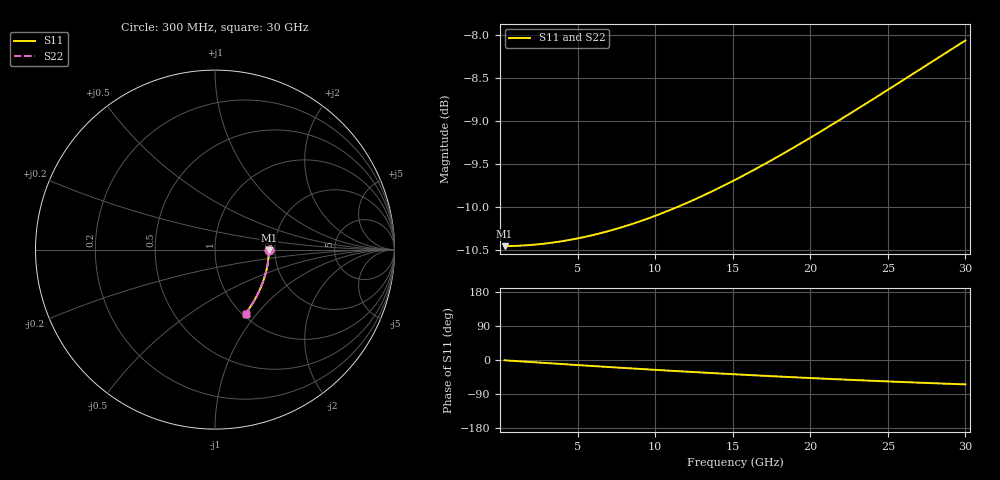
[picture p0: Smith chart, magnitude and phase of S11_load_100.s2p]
! Created Tue Apr 13 08:55:51 2021
# hz S ri R 50
! 2 Port Network Data from SP1.SP block
! freq  reS11  imS11  reS21  imS21  reS12  imS12  reS22  imS22
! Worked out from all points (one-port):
!   100 points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, 300 MHz to 30 GHz, reference 50 ohm
!   lowest |S11| = -10.5 dB at 300 MHz (marker M1), VSWR 1.86, Z = 92.8 - j0.861 ohm
!   |S11| at or under -10 dB: start of sweep to 11.5 GHz
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3e8  0.2999 -0.00422  0 0  0 0  0.2999 -0.00422
1.5e9  0.2994 -0.0211  0 0  0 0  0.2994 -0.0211
2.7e9  0.2984 -0.0379  0 0  0 0  0.2984 -0.0379
3.9e9  0.2968 -0.0546  0 0  0 0  0.2968 -0.0546
5.4e9  0.2941 -0.0753  0 0  0 0  0.2941 -0.0753
6.6e9  0.2913 -0.0916  0 0  0 0  0.2913 -0.0916
7.8e9  0.288 -0.1077  0 0  0 0  0.288 -0.1077
9e9  0.2843 -0.1236  0 0  0 0  0.2843 -0.1236
1.02e10  0.2801 -0.1391  0 0  0 0  0.2801 -0.1391
1.14e10  0.2756 -0.1545  0 0  0 0  0.2756 -0.1545
1.26e10  0.2707 -0.1695  0 0  0 0  0.2707 -0.1695
1.38e10  0.2655 -0.1843  0 0  0 0  0.2655 -0.1843
1.53e10  0.2585 -0.2023  0 0  0 0  0.2585 -0.2023
1.65e10  0.2526 -0.2164  0 0  0 0  0.2526 -0.2164
1.77e10  0.2464 -0.2302  0 0  0 0  0.2464 -0.2302
1.89e10  0.24 -0.2438  0 0  0 0  0.24 -0.2438
2.01e10  0.2333 -0.2571  0 0  0 0  0.2333 -0.2571
2.25e10  0.2193 -0.2828  0 0  0 0  0.2193 -0.2828
2.37e10  0.212 -0.2952  0 0  0 0  0.212 -0.2952
2.52e10  0.2026 -0.3104  0 0  0 0  0.2026 -0.3104
2.76e10  0.187 -0.3339  0 0  0 0  0.187 -0.3339
3e10  0.1707 -0.3562  0 0  0 0  0.1707 -0.3562
